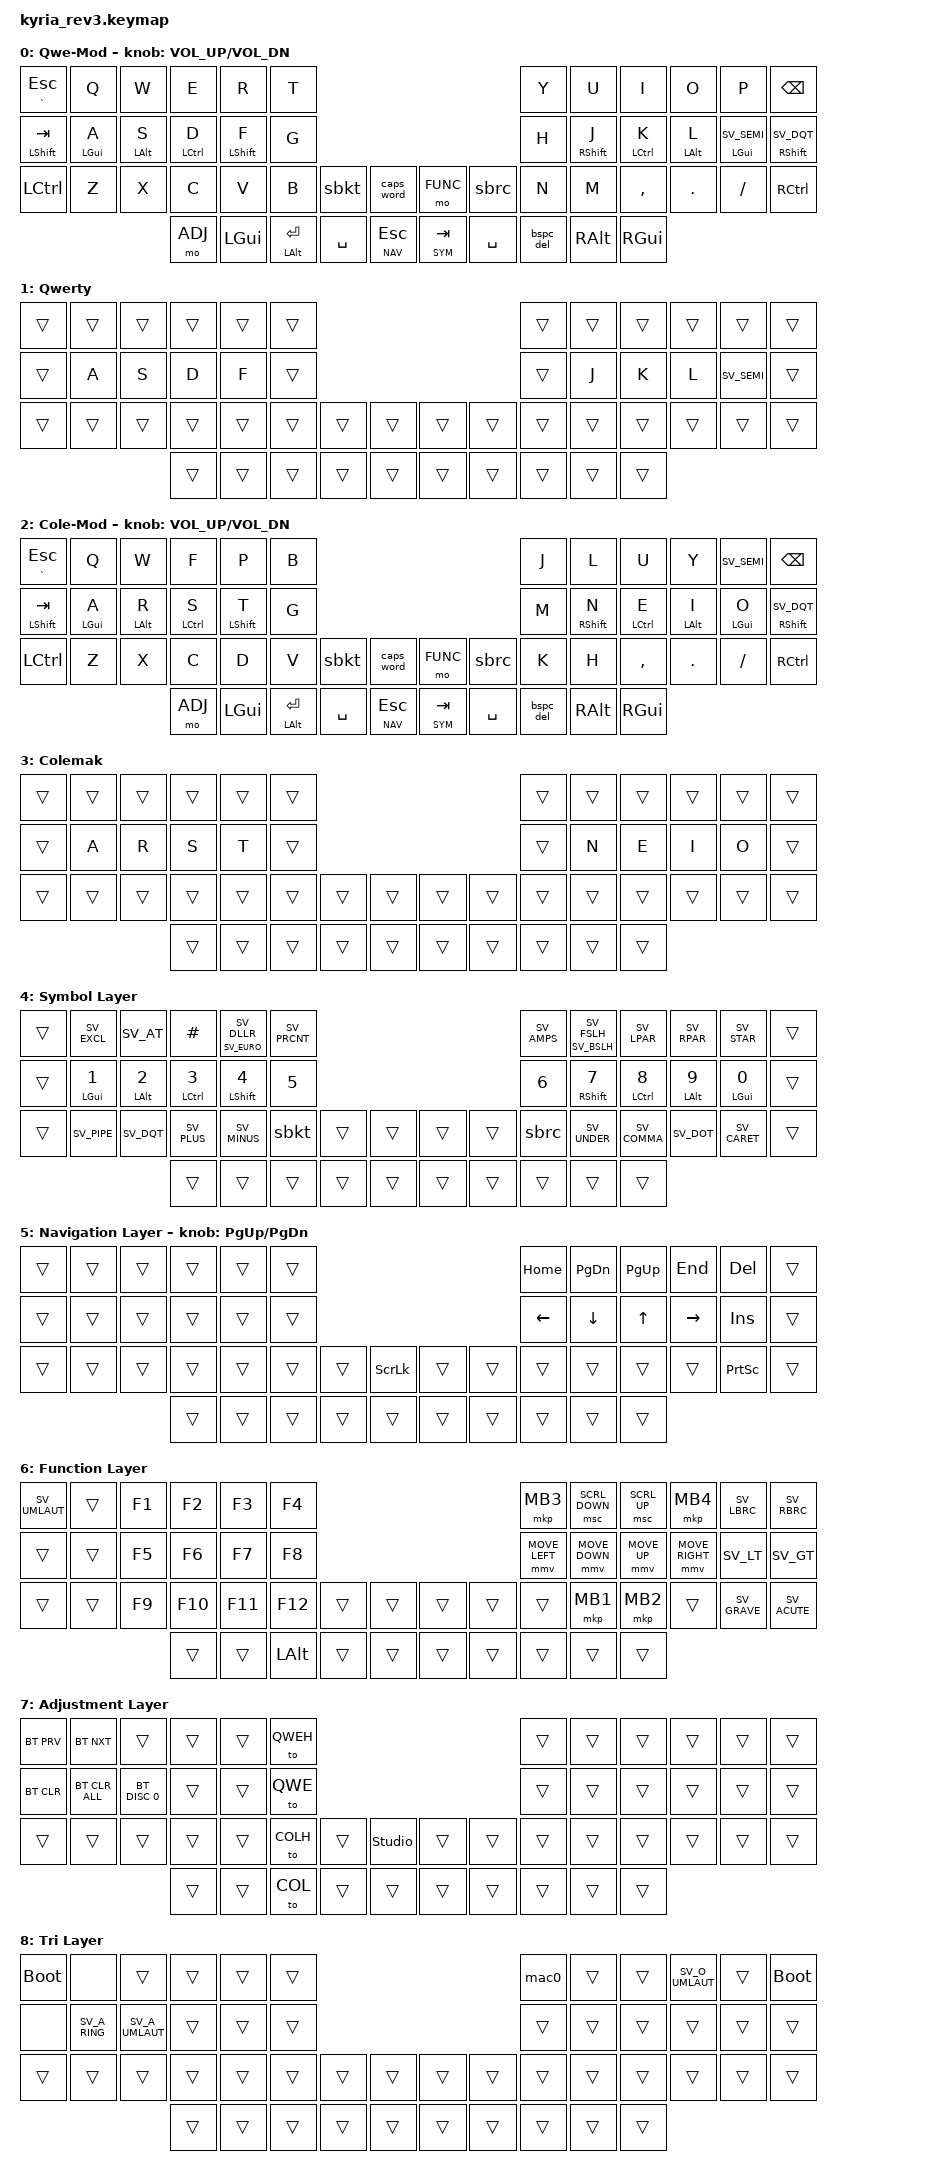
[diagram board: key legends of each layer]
#include <behaviors.dtsi>
#include <dt-bindings/zmk/bt.h>
#include <dt-bindings/zmk/keys.h>
#include <dt-bindings/zmk/pointing.h>
#include <zmk-helpers/key-labels/kyria.h> 

#ifndef KEYMAP_DRAWER
#include "includes/keys_sv.h"
#endif

#define KEYS_L LT0 LT1 LT2 LT3 LT4 LT5 LM0 LM1 LM2 LM3 LM4 LM5 LB0 LB1 LB2 LB3 LB4 LB5
#define KEYS_R RT0 RT1 RT2 RT3 RT4 RT5 RM0 RM1 RM2 RM3 RM4 RM5 RB0 RB1 RB2 RB3 RB4 RB5
#define EXTRAS LF1 LF0 RF0 RF1
#define THUMBS LH4 LH3 LH2 LH1 LH0 RH0 RH1 RH2 RH3 RH4

#define HM_TAPPING_TERM 200      // for non homerow tap
#define HM_TAPPING_TERM_FAST 140 // double tap for key repeating
#define HM_PRIOR_IDLE 220        // 150 is about 80 wpm

#define SMART_SYM(layer) &sym_smart layer layer

/* layers */
#define QWEH 0 // Homerow Qwerty
#define QWE  1
#define COLH 2 // Homerow Colemak
#define COL  3
#define SYM  4
#define NAV  5
#define FUNC 6
#define ADJ  7
#define TRI  8

#define XXXXX &none
#define ___   &trans

/ {
    behaviors {
        mt: mod_tap {
          compatible = "zmk,behavior-hold-tap";
          flavor = "hold-preferred";
          tapping-term-ms = <HM_TAPPING_TERM>;
          #binding-cells = <2>;
          bindings = <&kp>, <&kp>;
          display-name = "Mod-Tap";
        };

         // Single tap: toggle | hold: momentary SYM layer
        sym_smart: sym_smart {
          compatible = "zmk,behavior-hold-tap";
          flavor = "balanced";
          #binding-cells = <2>;
          tapping-term-ms = <HM_TAPPING_TERM>;
          quick-tap-ms = <HM_TAPPING_TERM_FAST>;
          bindings = <&mo>, <&tog>;
        };

        hml: hml_tap {
          display-name = "Homerow Left";
          compatible = "zmk,behavior-hold-tap";
          flavor = "balanced";
          #binding-cells = <2>;
          require-prior-idle-ms = <HM_PRIOR_IDLE>;
          tapping-term-ms = <280>;
          quick-tap-ms = <HM_TAPPING_TERM_FAST>;
          bindings = <&kp>, <&kp>;
          hold-trigger-key-positions = <KEYS_R THUMBS>;
          hold-trigger-on-release;
        };

       hmr: hmr_tap {
          display-name = "Homerow Right";
          compatible = "zmk,behavior-hold-tap";
          #binding-cells = <2>;
          flavor = "balanced";
          require-prior-idle-ms = <HM_PRIOR_IDLE>;
          tapping-term-ms = <280>;
          quick-tap-ms = <HM_TAPPING_TERM_FAST>;
          bindings = <&kp>, <&kp>;
          hold-trigger-key-positions = <KEYS_L THUMBS>;
          hold-trigger-on-release;
        };

        hol: hol_tap {
          display-name = "Homerow Left";
          compatible = "zmk,behavior-hold-tap";
          flavor = "balanced";
          #binding-cells = <2>;
          require-prior-idle-ms = <HM_PRIOR_IDLE>;
          tapping-term-ms = <280>;
          quick-tap-ms = <HM_TAPPING_TERM_FAST>;
          bindings = <&mo>, <&kp>;
          hold-trigger-key-positions = <KEYS_R KEYS_L THUMBS>;
          hold-trigger-on-release;
        };

        sbkt: shift_brkt {
            compatible = "zmk,behavior-mod-morph";
            #binding-cells = <0>;
            bindings = <&kp SV_LBKT>, <&kp SV_RBKT>;
            mods = <(MOD_LSFT|MOD_RSFT)>;
        };

        sbrc: shift_brc {
            compatible = "zmk,behavior-mod-morph";
            #binding-cells = <0>;
            bindings = <&kp SV_LBRC>, <&kp SV_RBRC>;
            mods = <(MOD_LSFT|MOD_RSFT)>;
        };
 
        bspc_del: backspace_delete {
            compatible = "zmk,behavior-mod-morph";
            #binding-cells = <0>;
            bindings = <&kp BACKSPACE>, <&kp DELETE>;
            mods = <(MOD_LSFT|MOD_RSFT)>;
            keep-mods = <(MOD_RSFT)>;
        };
    };

    conditional_layers {
        compatible = "zmk,conditional-layers";
        tri_layer {
            if-layers = <NAV SYM>;
            then-layer = <TRI>;
        };
    };

    combos {
        compatible = "zmk,combos";

        combo_nav {
            key-positions = <LH0 LM4>;
            layers = <QWE QWEH COL COLH>;
            timeout-ms = <100>;
            require-prior-idle-ms = <HM_PRIOR_IDLE>;
            bindings = <&mo FUNC>;
            slow-release;
        };

        combo_sym {
            key-positions = <LH0 LM1>;
            layers = <QWE QWEH COL COLH SYM>;
            timeout-ms = <100>;
            require-prior-idle-ms = <HM_PRIOR_IDLE>;
            bindings = <&tog SYM>;
            slow-release;
        };

    };

    macros {
        mac0: anddo_macro {
            compatible = "zmk,behavior-macro";
            #binding-cells = <0>;
            bindings = <&none &kp SPACE &kp SV_AMPS &kp SV_AMPS &kp SPACE>;
        };
    };

    keymap {
        compatible = "zmk,keymap";

        qwerty_layer {
            display-name = "Qwe-Mod";
            bindings = <
&mt GRAVE ESC  &kp Q       &kp W       &kp E        &kp R          &kp T                                                                &kp Y &kp U          &kp I        &kp O       &kp P             &kp BSPC
&mt LSHIFT TAB &hml LGUI A &hml LALT S &hml LCTRL D &hml LSHIFT F  &kp G                                  /**/                          &kp H &hmr RSHIFT J  &hmr LCTRL K &hmr LALT L &hmr LGUI SV_SEMI &mt RSHIFT SV_DQT
&kp LCTRL      &kp Z       &kp X       &kp C        &kp V          &kp B          &sbkt      &caps_word   /**/ &mo FUNC     &sbrc       &kp N &kp M          &kp COMMA    &kp DOT     &kp FSLH          &kp RCTRL
                                       &mo ADJ      &kp LGUI       &mt LALT ENTER &kp SPACE  &hol NAV ESC /**/ &hol SYM TAB &kp SPACE   &bspc_del &kp RALT   &kp RGUI
            >;
            sensor-bindings = <&inc_dec_kp C_VOL_UP C_VOL_DN>;
        };

        qwerty_homerow {
            display-name = "Qwerty";
            bindings = <
&trans  &trans &trans &trans &trans &trans                                      &trans  &trans &trans &trans &trans      &trans
&trans  &kp A  &kp S  &kp D  &kp F  &trans                /**/                  &trans  &kp J  &kp K  &kp L  &kp SV_SEMI &trans
&trans  &trans &trans &trans &trans &trans &trans &trans  /**/  &trans  &trans  &trans  &trans &trans &trans &trans      &trans
                      &trans &trans &trans &trans &trans  /**/  &trans  &trans  &trans  &trans &trans
            >;
        };

        colemak_layer {
            display-name = "Cole-Mod";
            bindings = <
&mt GRAVE ESC  &kp Q       &kp W       &kp F        &kp P          &kp B                                                                 &kp J     &kp L         &kp U        &kp Y       &kp SV_SEMI &kp BSPC
&mt LSHIFT TAB &hml LGUI A &hml LALT R &hml LCTRL S &hml LSHIFT T  &kp G                                   /**/                          &kp M     &hmr RSHIFT N &hmr LCTRL E &hmr LALT I &hmr LGUI O &mt RSHIFT SV_DQT
&kp LCTRL      &kp Z       &kp X       &kp C        &kp D          &kp V          &sbkt      &caps_word    /**/  &mo FUNC     &sbrc      &kp K     &kp H         &kp COMMA    &kp DOT     &kp FSLH    &kp RCTRL
                                       &mo ADJ      &kp LGUI       &mt LALT ENTER &kp SPACE  &hol NAV ESC  /**/  &hol SYM TAB &kp SPACE  &bspc_del &kp RALT      &kp RGUI
            >;
            sensor-bindings = <&inc_dec_kp C_VOL_UP C_VOL_DN>;
        };

        colemak_homerow {
            display-name = "Colemak";
            bindings = <
&trans  &trans &trans &trans &trans  &trans                                                &trans  &trans &trans &trans &trans &trans
&trans  &kp A  &kp R  &kp S  &kp T   &trans                          /**/                  &trans  &kp N  &kp E  &kp I  &kp O  &trans
&trans  &trans &trans &trans &trans  &trans  &trans  &trans          /**/  &trans  &trans  &trans  &trans &trans &trans &trans &trans
                             &trans  &trans  &trans  &trans  &trans  /**/  &trans  &trans  &trans  &trans &trans
            >;
        };

        symbol_layer {
            display-name = "Symbol Layer";
            bindings = <
&trans  &kp  SV_EXCL &kp  SV_AT    &kp  HASH     &mt SV_EURO SV_DLLR  &kp SV_PRCNT                                        &kp SV_AMPS  &mt  SV_BSLH SV_FSLH  &kp  SV_LPAR  &kp SV_RPAR  &kp  SV_STAR  &trans
&trans  &hml LGUI N1 &hml LALT N2  &hml LCTRL N3 &hml LSHIFT N4       &kp N5                        /**/                  &kp N6       &hmr RSHIFT N7        &hmr LCTRL N8 &hmr LALT N9 &hmr LGUI N0  &trans
&trans  &kp  SV_PIPE &kp  SV_DQT   &kp  SV_PLUS  &kp SV_MINUS         &sbkt         &trans  &trans  /**/  &trans  &trans  &sbrc        &kp  SV_UNDER         &kp  SV_COMMA &kp SV_DOT   &kp  SV_CARET &trans
                                   &trans        &trans               &trans        &trans  &trans  /**/  &trans  &trans  &trans       &trans                &trans
            >;
        };

        navigation_layer {
            display-name = "Navigation Layer";
            bindings = <
&trans  &trans  &trans  &trans  &trans  &trans                                          &kp HOME  &kp PG_DN  &kp PG_UP  &kp END   &kp DEL   &trans  
&trans  &trans  &trans  &trans  &trans  &trans                    /**/                  &kp LEFT  &kp DOWN   &kp UP     &kp RIGHT &kp INS   &trans 
&trans  &trans  &trans  &trans  &trans  &trans  &trans  &kp SLCK  /**/  &trans  &trans  &trans    &trans     &trans     &trans    &kp PSCRN &trans 
                        &trans  &trans  &trans  &trans  &trans    /**/  &trans  &trans  &trans    &trans     &trans
            >;
            sensor-bindings = <&inc_dec_kp PAGE_UP PAGE_DOWN>;
        };

        function_layer {
            display-name = "Function Layer";
            bindings = <
&kp SV_UMLAUT &trans  &kp F1  &kp F2   &kp F3   &kp F4                                         &mkp MB3        &msc SCRL_DOWN  &msc SCRL_UP  &mkp MB4         &kp SV_LBRC   &kp SV_RBRC
&trans        &trans  &kp F5  &kp F6   &kp F7   &kp F8                   /**/                  &mmv MOVE_LEFT  &mmv MOVE_DOWN  &mmv MOVE_UP  &mmv MOVE_RIGHT  &kp SV_LT     &kp SV_GT
&trans        &trans  &kp F9  &kp F10  &kp F11  &kp F12  &trans  &trans  /**/  &trans  &trans  &trans          &mkp MB1        &mkp MB2      &trans           &kp SV_GRAVE  &kp SV_ACUTE
                              &trans   &trans   &kp LALT &trans  &trans  /**/  &trans  &trans  &trans          &trans          &trans
            >;
        };

        adjust_layer {
            display-name = "Adjustment Layer";
            bindings = <
&bt BT_PRV  &bt BT_NXT      &trans         &trans  &trans  &to QWEH                                                &trans  &trans  &trans  &trans  &trans  &trans
&bt BT_CLR  &bt BT_CLR_ALL  &bt BT_DISC 0  &trans  &trans  &to QWE                          /**/                   &trans  &trans  &trans  &trans  &trans  &trans
&trans      &trans          &trans         &trans  &trans  &to COLH &trans  &studio_unlock  /**/   &trans  &trans  &trans  &trans  &trans  &trans  &trans  &trans
                                           &trans  &trans  &to COL  &trans  &trans          /**/   &trans  &trans  &trans  &trans  &trans
            >;
        };

        tri_layer {
            display-name = "Tri Layer";
            bindings = <
&bootloader XXXXX         &trans          &trans  &trans  &trans                                        &mac0   &trans  &trans  &kp SV_O_UMLAUT &trans  &bootloader 
XXXXX       &kp SV_A_RING &kp SV_A_UMLAUT &trans  &trans  &trans                  /**/                  &trans  &trans  &trans  &trans          &trans  &trans
&trans      &trans        &trans          &trans  &trans  &trans  &trans  &trans  /**/  &trans  &trans  &trans  &trans  &trans  &trans          &trans  &trans
                          &trans          &trans  &trans  &trans  &trans  &trans  /**/  &trans  &trans  &trans  &trans
            >;
        };
/*
        empty_layer {
            display-name = "Empty Layer";
            bindings = <
&trans  &trans  &trans  &trans  &trans  &trans                                  &trans  &trans  &trans  &trans  &trans  &trans
&trans  &trans  &trans  &trans  &trans  &trans                                  &trans  &trans  &trans  &trans  &trans  &trans
&trans  &trans  &trans  &trans  &trans  &trans  &trans  &trans  &trans  &trans  &trans  &trans  &trans  &trans  &trans  &trans
                        &trans  &trans  &trans  &trans  &trans  &trans  &trans  &trans  &trans  &trans
            >;
        };
*/
    };
};
